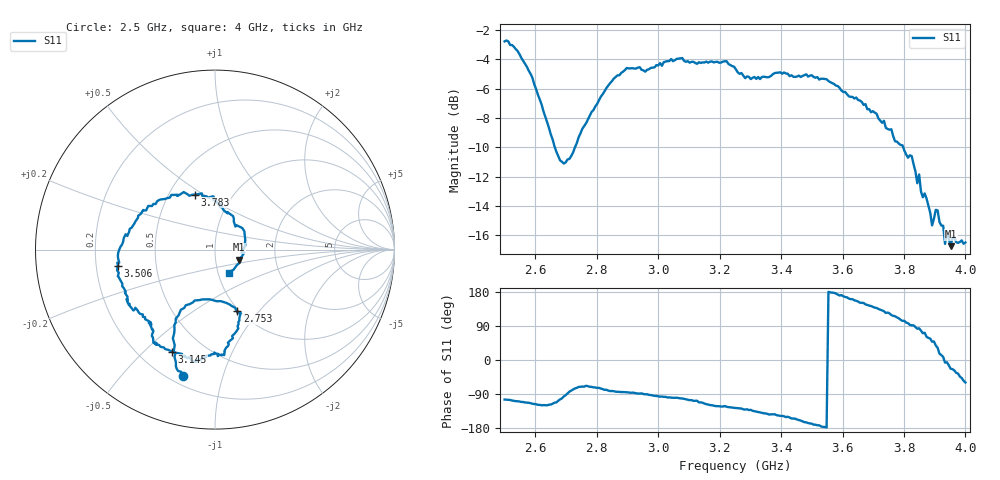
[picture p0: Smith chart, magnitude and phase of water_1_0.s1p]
# MHz S MA R 50
!  freq  S11
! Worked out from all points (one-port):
!   250 points, 2.5 GHz to 4 GHz, reference 50 ohm
!   lowest |S11| = -16.7 dB at 3.952 GHz (marker M1), VSWR 1.34, Z = 65 - j7.55 ohm
!   |S11| at or under -10 dB: 2.664 GHz to 2.729 GHz (65.19 MHz wide, 2.42 % of centre); 3.798 GHz to end of sweep
!   S11 on the Smith chart (normalised r, x): 2.5 GHz: 0.25, -0.75; 2.753 GHz: 0.98, -0.78; 3.145 GHz: 0.33, -0.61; 3.506 GHz: 0.29, -0.07; 3.783 GHz: 0.67, +0.46; 4 GHz: 1.12, -0.30
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2500  0.7267 -104.4
2542.169  0.6742 -108.8
2620.482  0.4429 -119.6
2692.771  0.2786 -96.3
2753.012  0.3661 -70.1
2807.229  0.4578 -73.5
2879.518  0.5674 -84.7
3066.265  0.6346 -100.4
3144.578  0.6163 -112.8
3186.747  0.6187 -121.6
3253.012  0.5834 -126.7
3439.759  0.551 -154.6
3506.024  0.5497 -170.7
3626.506  0.4703 160.6
3704.819  0.4158 138.3
3783.133  0.326 110.0
3813.253  0.2917 97.1
3825.301  0.2953 91.4
3843.373  0.2387 82.5
3849.398  0.2557 83.6
3855.422  0.2239 77.5
3891.566  0.1715 48.4
3909.639  0.193 32.1
3927.711  0.1711 8.1
3933.735  0.1483 -6.9
3939.759  0.1635 -5.9
3951.807  0.1457 -22.9
4000  0.1499 -59.4
